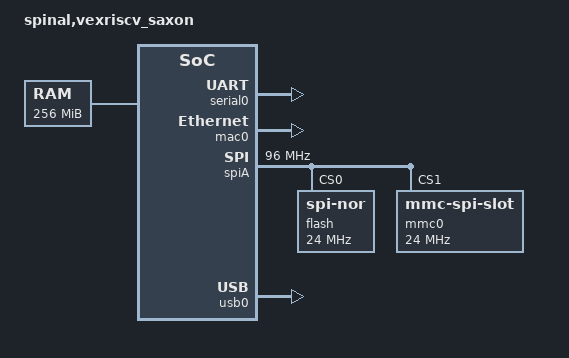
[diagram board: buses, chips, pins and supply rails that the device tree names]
/dts-v1/;

#include <config.h>

/ {
  #address-cells = <1>;
  #size-cells = <1>;
  compatible = "spinal,vexriscv";
  model = "spinal,vexriscv_saxon";

  aliases {
    serial0 = &serial0;
  };

  chosen {
    bootargs = "console=ttyS0,115200n8";
    stdout-path = "serial0:115200n8";
  };

  cpus {
    #address-cells = <1>;
    #size-cells = <0>;
    timebase-frequency = <96000000>;

    cpu0: cpu@0{
      device_type = "cpu";
      compatible = "riscv";
      riscv,isa = "rv32imafd";
      clock-frequency = <96000000>;
      mmu-type = "riscv,sv32";
      reg = <0>;
      status = "okay";
      intc0: interrupt-controller {
          #interrupt-cells = <1>;
          interrupt-controller;
          compatible = "riscv,cpu-intc";
      };
    };

    cpu1: cpu@1{
      device_type = "cpu";
      compatible = "riscv";
      riscv,isa = "rv32imafd";
      clock-frequency = <96000000>;
      mmu-type = "riscv,sv32";
      reg = <1>;
      status = "okay";
      intc1: interrupt-controller {
          #interrupt-cells = <1>;
          interrupt-controller;
          compatible = "riscv,cpu-intc";
      };
    };

    cpu2: cpu@2{
      device_type = "cpu";
      compatible = "riscv";
      riscv,isa = "rv32imafd";
      clock-frequency = <96000000>;
      mmu-type = "riscv,sv32";
      reg = <2>;
      status = "okay";
      intc2: interrupt-controller {
          #interrupt-cells = <1>;
          interrupt-controller;
          compatible = "riscv,cpu-intc";
      };
    };

    cpu3: cpu@3{
      device_type = "cpu";
      compatible = "riscv";
      riscv,isa = "rv32imafd";
      clock-frequency = <96000000>;
      mmu-type = "riscv,sv32";
      reg = <3>;
      status = "okay";
      intc3: interrupt-controller {
          #interrupt-cells = <1>;
          interrupt-controller;
          compatible = "riscv,cpu-intc";
      };
    };
  };

  memory {
    device_type = "memory";
    reg = <0x80000000 0x10000000>;
  };

  framebuffer0: framebuffer@8f000000 {
      compatible = "simple-framebuffer";
      reg = <0x8F000000 (800 * 600 * 2)>;
      width = <800>;
      height = <600>;
      stride = <(800 * 2)>;
      format = "r5g6b5";
  };


  periph@10000000 {
    compatible = "simple-bus";
    #address-cells = <0x1>;
    #size-cells = <0x1>;
    ranges = <0x0 0x10000000 0x01000000>;

    serial0: serial@10000 {
      device_type = "serial";
      compatible = "vexriscv,uart0";
      reg = <0x10000 0x10>;
      clock-frequency = <96000000>;
    };

    mac0: mac@40000 {
      compatible = "spinal,lib_mac";
      reg = <0x40000 0x1000>;
      mac-address = [00 01 23 34 56 78];
    };

    spiA: spi@20000 {
      compatible = "vexriscv,spi";
      #address-cells = <1>;
      #size-cells = <0>;
      reg = <0x20000 0x1000>;
      cmd_fifo_depth = <256>;
      rsp_fifo_depth = <256>;
      num-cs = <2>;
      clock-frequency = <96000000>;

      flash: flash@0 {
        #address-cells = <1>;
        #size-cells = <1>;
        compatible = "jedec,spi-nor";
        reg = <0>;
        spi-max-frequency = <24000000>;
      };

      mmc0: mmc@1 {
        compatible = "mmc-spi-slot";
        reg = <1>;
        spi-max-frequency = <24000000>;
      };
    };

    usb0: ohci@a0000 {
      compatible = "generic-ohci";
      reg = <0xa0000 0x1000>;
    };
  };
};


//sspi  0:0.0 32 9F
//mtd read uboot-env 0x80000000
//md.l 0x80000000 100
